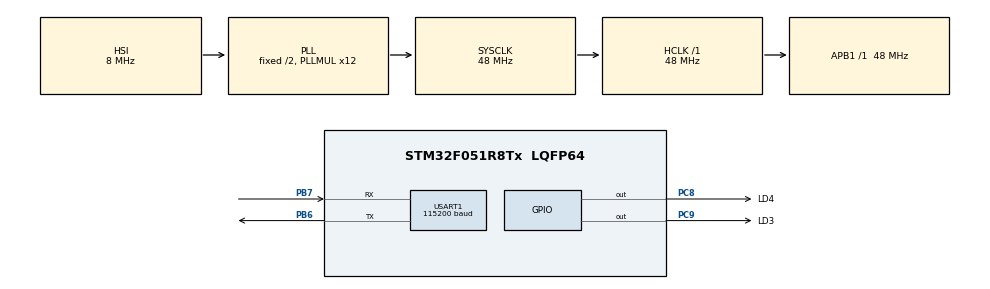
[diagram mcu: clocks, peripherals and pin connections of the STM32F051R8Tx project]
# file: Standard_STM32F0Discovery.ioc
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Mcu.Family=STM32F0
Mcu.Name=STM32F051R8Tx
Mcu.Package=LQFP64
PB6.Mode=Asynchronous
PB6.Signal=USART1_TX
PB7.Mode=Asynchronous
PB7.Signal=USART1_RX
PC8.GPIO_Label=LD4
PC8.Signal=GPIO_Output
PC9.GPIO_Label=LD3
PC9.Signal=GPIO_Output
PF0-OSC_IN.Mode=HSE-External-Oscillator
PF0-OSC_IN.Signal=RCC_OSC_IN
PF1-OSC_OUT.Mode=HSE-External-Oscillator
PF1-OSC_OUT.Signal=RCC_OSC_OUT
ProjectManager.HeapSize=0x200
ProjectManager.StackSize=0x400
ProjectManager.TargetToolchain=MDK-ARM V5
RCC.AHBFreq_Value=48000000
RCC.APB1Freq_Value=48000000
RCC.APB1TimFreq_Value=48000000
RCC.HCLKFreq_Value=48000000
RCC.PLLMUL=RCC_PLL_MUL12
RCC.SYSCLKFreq_VALUE=48000000
RCC.SYSCLKSource=RCC_SYSCLKSOURCE_PLLCLK
USART1.BaudRate=115200
USART1.VirtualMode-Asynchronous=VM_ASYNC
board=custom

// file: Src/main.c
/**
  ******************************************************************************
  * @file           : main.c
  * @brief          : Main program body
  ******************************************************************************
  ** This notice applies to any and all portions of this file
  * that are not between comment pairs USER CODE BEGIN and
  * USER CODE END. Other portions of this file, whether
  * inserted by the user or by software development tools
  * are owned by their respective copyright owners.
  *
  * COPYRIGHT(c) 2018 STMicroelectronics
  *
  * Redistribution and use in source and binary forms, with or without modification,
  * are permitted provided that the following conditions are met:
  *   1. Redistributions of source code must retain the above copyright notice,
  *      this list of conditions and the following disclaimer.
  *   2. Redistributions in binary form must reproduce the above copyright notice,
  *      this list of conditions and the following disclaimer in the documentation
  *      and/or other materials provided with the distribution.
  *   3. Neither the name of STMicroelectronics nor the names of its contributors
  *      may be used to endorse or promote products derived from this software
  *      without specific prior written permission.
  *
  * THIS SOFTWARE IS PROVIDED BY THE COPYRIGHT HOLDERS AND CONTRIBUTORS "AS IS"
  * AND ANY EXPRESS OR IMPLIED WARRANTIES, INCLUDING, BUT NOT LIMITED TO, THE
  * IMPLIED WARRANTIES OF MERCHANTABILITY AND FITNESS FOR A PARTICULAR PURPOSE ARE
  * DISCLAIMED. IN NO EVENT SHALL THE COPYRIGHT HOLDER OR CONTRIBUTORS BE LIABLE
  * FOR ANY DIRECT, INDIRECT, INCIDENTAL, SPECIAL, EXEMPLARY, OR CONSEQUENTIAL
  * DAMAGES (INCLUDING, BUT NOT LIMITED TO, PROCUREMENT OF SUBSTITUTE GOODS OR
  * SERVICES; LOSS OF USE, DATA, OR PROFITS; OR BUSINESS INTERRUPTION) HOWEVER
  * CAUSED AND ON ANY THEORY OF LIABILITY, WHETHER IN CONTRACT, STRICT LIABILITY,
  * OR TORT (INCLUDING NEGLIGENCE OR OTHERWISE) ARISING IN ANY WAY OUT OF THE USE
  * OF THIS SOFTWARE, EVEN IF ADVISED OF THE POSSIBILITY OF SUCH DAMAGE.
  *
  ******************************************************************************
  */
#include "main.h"
#include "stm32f0xx_hal.h"
#include "usart.h"
#include "gpio.h"

/* USER CODE BEGIN Includes */
/* Includes LiteOS------------------------------------------------------------------*/

#include "los_base.h"
#include "los_sys.h"
#include "los_config.h"
#include "los_typedef.h"
#include "los_task.ph"
/* USER CODE END Includes */
UINT32 g_TskHandle;

/* USER CODE BEGIN PV */
/* Private variables ---------------------------------------------------------*/

/* USER CODE END PV */

void SystemClock_Config(void);

/* USER CODE BEGIN PFP */
/* Private function prototypes -----------------------------------------------*/

/* USER CODE END PFP */

/* USER CODE BEGIN 0 */
VOID task1(VOID)
{
	int count = 0;
	while(1)
	{
		printf("********This is LiteOS Task 1, count is %d \r\n",count++);
		HAL_GPIO_TogglePin(GPIOC, LD4_Pin);
		LOS_TaskDelay(1000);
	}
}
UINT32 creat_task1()
{
    UINT32 uwRet = LOS_OK;
    TSK_INIT_PARAM_S task_init_param;

    task_init_param.usTaskPrio = 0;
    task_init_param.pcName = "task1";
    task_init_param.pfnTaskEntry = (TSK_ENTRY_FUNC)task1;
    task_init_param.uwStackSize = 0x200;

    uwRet = LOS_TaskCreate(&g_TskHandle, &task_init_param);
    if(LOS_OK != uwRet)
    {
        return uwRet;
    }
    return uwRet;
}

VOID task2(VOID)
{
	int count = 0;
	while(1)
	{
		HAL_GPIO_TogglePin(GPIOC, LD3_Pin);
		printf("++++++++This is LiteOS Task 2, count is %d \r\n",count++);
		LOS_TaskDelay(2000);
	}
}
UINT32 creat_task2()
{
    UINT32 uwRet = LOS_OK;
    TSK_INIT_PARAM_S task_init_param;

    task_init_param.usTaskPrio = 1;
    task_init_param.pcName = "task2";
    task_init_param.pfnTaskEntry = (TSK_ENTRY_FUNC)task2;
    task_init_param.uwStackSize = 0x200;

    uwRet = LOS_TaskCreate(&g_TskHandle, &task_init_param);
    if(LOS_OK != uwRet)
    {
        return uwRet;
    }
    return uwRet;
}
/* USER CODE END 0 */

int main(void)
{
	UINT32 uwRet = LOS_OK;

  /* Reset of all peripherals, Initializes the Flash interface and the Systick. */
  HAL_Init();

  /* Configure the system clock */
  SystemClock_Config();
  /* Initialize all configured peripherals */
  MX_GPIO_Init();
  MX_USART1_UART_Init();

	uwRet = LOS_KernelInit();
	if (uwRet != LOS_OK)
	{
		return LOS_NOK;
	}
	uwRet = creat_task1();
	if (uwRet != LOS_OK)
	{
		return LOS_NOK;
	}
	uwRet = creat_task2();
	if (uwRet != LOS_OK)
	{
		return LOS_NOK;
	}
	(void)LOS_Start();

}

void SystemClock_Config(void)
{

  RCC_OscInitTypeDef RCC_OscInitStruct;
  RCC_ClkInitTypeDef RCC_ClkInitStruct;
  RCC_PeriphCLKInitTypeDef PeriphClkInit;

    /**Initializes the CPU, AHB and APB busses clocks
    */
  RCC_OscInitStruct.OscillatorType = RCC_OSCILLATORTYPE_HSI;
  RCC_OscInitStruct.HSIState = RCC_HSI_ON;
  RCC_OscInitStruct.HSICalibrationValue = 16;
  RCC_OscInitStruct.PLL.PLLState = RCC_PLL_ON;
  RCC_OscInitStruct.PLL.PLLSource = RCC_PLLSOURCE_HSI;
  RCC_OscInitStruct.PLL.PLLMUL = RCC_PLL_MUL12;
  RCC_OscInitStruct.PLL.PREDIV = RCC_PREDIV_DIV1;
  if (HAL_RCC_OscConfig(&RCC_OscInitStruct) != HAL_OK)
  {
    _Error_Handler(__FILE__, __LINE__);
  }

    /**Initializes the CPU, AHB and APB busses clocks
    */
  RCC_ClkInitStruct.ClockType = RCC_CLOCKTYPE_HCLK|RCC_CLOCKTYPE_SYSCLK
                              |RCC_CLOCKTYPE_PCLK1;
  RCC_ClkInitStruct.SYSCLKSource = RCC_SYSCLKSOURCE_PLLCLK;
  RCC_ClkInitStruct.AHBCLKDivider = RCC_SYSCLK_DIV1;
  RCC_ClkInitStruct.APB1CLKDivider = RCC_HCLK_DIV1;

  if (HAL_RCC_ClockConfig(&RCC_ClkInitStruct, FLASH_LATENCY_1) != HAL_OK)
  {
    _Error_Handler(__FILE__, __LINE__);
  }

  PeriphClkInit.PeriphClockSelection = RCC_PERIPHCLK_USART1;
  PeriphClkInit.Usart1ClockSelection = RCC_USART1CLKSOURCE_PCLK1;
  if (HAL_RCCEx_PeriphCLKConfig(&PeriphClkInit) != HAL_OK)
  {
    _Error_Handler(__FILE__, __LINE__);
  }

    /**Configure the Systick interrupt time
    */
  HAL_SYSTICK_Config(HAL_RCC_GetHCLKFreq()/1000);

    /**Configure the Systick
    */
  HAL_SYSTICK_CLKSourceConfig(SYSTICK_CLKSOURCE_HCLK);

  /* SysTick_IRQn interrupt configuration */
  HAL_NVIC_SetPriority(SysTick_IRQn, 0, 0);
}

void _Error_Handler(char *file, int line)
{
  while(1)
  {
  }
}

/************************ (C) COPYRIGHT STMicroelectronics *****END OF FILE****/
